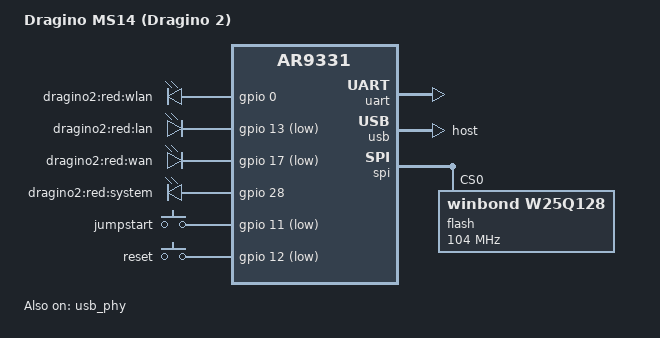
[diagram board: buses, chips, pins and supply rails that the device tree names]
// SPDX-License-Identifier: GPL-2.0
/dts-v1/;

#include <dt-bindings/gpio/gpio.h>
#include <dt-bindings/input/input.h>

#include "ar9331.dtsi"

/ {
	model = "Dragino MS14 (Dragino 2)";
	compatible = "dragino,ms14", "qca,ar9331";

	aliases {
		serial0 = &uart;
	};

	leds {
		compatible = "gpio-leds";

		wlan {
			label = "dragino2:red:wlan";
			gpios = <&gpio 0 GPIO_ACTIVE_HIGH>;
		};

		lan {
			label = "dragino2:red:lan";
			gpios = <&gpio 13 GPIO_ACTIVE_LOW>;
		};

		wan {
			label = "dragino2:red:wan";
			gpios = <&gpio 17 GPIO_ACTIVE_LOW>;
		};

		system {
			label = "dragino2:red:system";
			gpios = <&gpio 28 GPIO_ACTIVE_HIGH>;
		};
	};

	keys {
		compatible = "gpio-keys-polled";
		poll-interval = <100>;

		button0 {
			label = "jumpstart";
			linux,code = <KEY_WPS_BUTTON>;
			gpios = <&gpio 11 GPIO_ACTIVE_LOW>;
		};

		button1 {
			label = "reset";
			linux,code = <KEY_RESTART>;
			gpios = <&gpio 12 GPIO_ACTIVE_LOW>;
		};
	};
};

&ref {
	clock-frequency = <25000000>;
};

&uart {
	status = "okay";
};

&gpio {
	status = "okay";
};

&usb {
	dr_mode = "host";
	status = "okay";
};

&usb_phy {
	status = "okay";
};

&spi {
	num-chipselects = <1>;
	status = "okay";

	/* Winbond 25Q128BVFG SPI flash */
	flash@0 {
		compatible = "winbond,w25q128", "jedec,spi-nor";
		spi-max-frequency = <104000000>;
		reg = <0>;
	};
};
